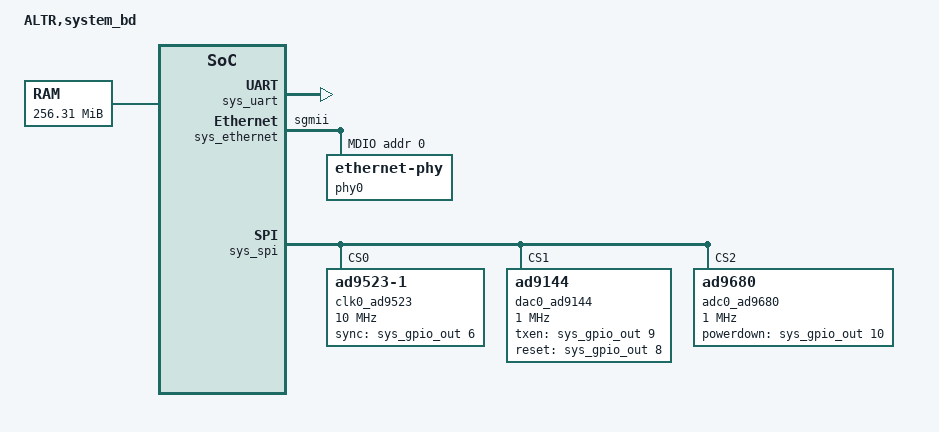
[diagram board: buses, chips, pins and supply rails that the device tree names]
// SPDX-License-Identifier: GPL-2.0
/*
 * Analog Devices AD-FMCDAQ2-EBZ
 * Link: https://wiki.analog.com/resources/eval/user-guides/ad-fmcdaq2-ebz
 *
 * hdl_project: <daq2/a10gx>
 * board_revision: <>
 *
 * Copyright 2016-2020 Analog Devices Inc.
 */
/dts-v1/;

/ {
	model = "ALTR,system_bd";
	compatible = "ALTR,system_bd";
	#address-cells = <1>;
	#size-cells = <1>;

	cpus {
		#address-cells = <1>;
		#size-cells = <0>;

		sys_cpu: cpu@0 {
			device_type = "cpu";
			compatible = "altr,nios2-1.1";
			reg = <0x00000000>;
			interrupt-controller;
			#interrupt-cells = <1>;
			altr,exception-addr = <3221225504>;
			altr,fast-tlb-miss-addr = <3491762176>;
			altr,has-initda = <1>;
			altr,has-mmu = <1>;
			altr,has-mul = <1>;
			altr,implementation = "fast";
			altr,pid-num-bits = <8>;
			altr,reset-addr = <3221225472>;
			altr,tlb-num-entries = <128>;
			altr,tlb-num-ways = <16>;
			altr,tlb-ptr-sz = <7>;
			clock-frequency = <100000000>;
			dcache-line-size = <32>;
			dcache-size = <32768>;
			icache-line-size = <32>;
			icache-size = <32768>;
		};
	};

	memory {
		device_type = "memory";
		reg = <0x00000000 0x10000000>,
			<0x10140000 0x00028000>,
			<0x10200000 0x00028000>;
	};

	clocks {
		sys_clk: sys_clk {
			#clock-cells = <0>;
			compatible = "fixed-clock";
			clock-frequency = <100000000>;
			clock-output-names = "system_clock";
		};

		dma_clk: dma_clk {
			#clock-cells = <0>;
			compatible = "fixed-clock";
			clock-frequency = <226652000>;
			clock-output-names = "dma_clock";
		};
	};

	sopc0: sopc {
		device_type = "soc";
		ranges;
		#address-cells = <1>;
		#size-cells = <1>;
		compatible = "ALTR,avalon", "simple-bus";
		bus-frequency = <100000000>;

		sys_uart: serial@101814f0 {
			compatible = "altr,juart-1.0";
			reg = <0x101814f0 0x00000008>;
			interrupt-parent = <&sys_cpu>;
			interrupts = <2>;
		};

		sys_ethernet: ethernet@10181000 {
			compatible = "altr,tse-msgdma-1.0", "altr,tse-1.0";
			reg = <0x10181000 0x00000400>,
				<0x101814a0 0x00000020>,
				<0x10181440 0x00000020>,
				<0x101814e0 0x00000008>,
				<0x10181480 0x00000020>,
				<0x10181460 0x00000020>;
			reg-names = "control_port", "rx_csr", "rx_desc", "rx_resp", "tx_csr", "tx_desc";
			interrupt-parent = <&sys_cpu>;
			interrupts = <0 1>;
			interrupt-names = "rx_irq", "tx_irq";
			ALTR,rx-fifo-depth = <4096>;
			ALTR,tx-fifo-depth = <4096>;
			rx-fifo-depth = <16384>;
			tx-fifo-depth = <16384>;
			address-bits = <48>;
			max-frame-size = <1518>;
			local-mac-address = [B2 94 3D 6E 11 8F];
			altr,enable-sup-addr = <0>;
			altr,enable-hash = <0>;
			phy-mode = "sgmii";

			sys_ethernet_mdio: mdio {
				compatible = "altr,tse-mdio";
				#address-cells = <1>;
				#size-cells = <0>;
				phy0: ethernet-phy@0 {
					reg = <0>;
					device_type = "ethernet-phy";
				};
			};
		};

		sys_id: sysid@101814e8 {
			compatible = "altr,sysid-1.0";
			reg = <0x101814e8 0x00000008>;
			id = <182193580>;
			timestamp = <1506373933>;
		};

		sys_timer_1: timer@10181420 {
			compatible = "altr,timer-1.0";
			reg = <0x10181420 0x00000020>;
			interrupt-parent = <&sys_cpu>;
			interrupts = <4>;
			clock-frequency = <100000000>;
		};

		sys_timer_2: timer@10181520 {
			compatible = "altr,timer-1.0";
			reg = <0x10181520 0x00000020>;
			interrupt-parent = <&sys_cpu>;
			interrupts = <3>;
			clock-frequency = <100000000>;
		};

		sys_gpio_bd: gpio@101814d0 {
			compatible = "altr,pio-1.0";
			reg = <0x101814d0 0x00000010>;
			interrupt-parent = <&sys_cpu>;
			interrupts = <6>;
			altr,gpio-bank-width = <32>;
			altr,interrupt-type = <4>;
			altr,interrupt_type = <4>;
			level_trigger = <1>;
			resetvalue = <0>;
			#gpio-cells = <2>;
			gpio-controller;
		};

		sys_gpio_in: gpio@101814c0 {
			compatible = "altr,pio-1.0";
			reg = <0x101814c0 0x00000010>;
			interrupt-parent = <&sys_cpu>;
			interrupts = <5>;
			altr,gpio-bank-width = <32>;
			altr,interrupt-type = <4>;
			altr,interrupt_type = <4>;
			level_trigger = <1>;
			resetvalue = <0>;
			#gpio-cells = <2>;
			gpio-controller;
		};

		sys_gpio_out: gpio@10181500 {
			compatible = "altr,pio-1.0";
			reg = <0x10181500 0x00000010>;
			altr,gpio-bank-width = <32>;
			resetvalue = <0>;
			#gpio-cells = <2>;
			gpio-controller;
		};

		sys_spi: spi@10181400 {
			compatible = "altr,spi-1.0";
			reg = <0x10181400 0x00000020>;
			interrupt-parent = <&sys_cpu>;
			interrupts = <7>;

			#address-cells = <1>;
			#size-cells = <0>;

			clk0_ad9523: ad9523-1@0 {
				#address-cells = <1>;
				#size-cells = <0>;
				#clock-cells = <1>;
				compatible = "ad9523-1";
				reg = <0>;

				sync-gpios = <&sys_gpio_out 6 0>;

				spi-max-frequency = <10000000>;
				clock-output-names = "ad9523-1_out0", "ad9523-1_out1", "ad9523-1_out2", "ad9523-1_out3", "ad9523-1_out4", "ad9523-1_out5", "ad9523-1_out6", "ad9523-1_out7", "ad9523-1_out8", "ad9523-1_out9", "ad9523-1_out10", "ad9523-1_out11", "ad9523-1_out12", "ad9523-1_out13";
				adi,vcxo-freq = <125000000>;
				adi,spi-3wire-enable;
				adi,pll1-bypass-enable;
				adi,osc-in-diff-enable;

				adi,pll2-charge-pump-current-nA = <413000>;
				adi,pll2-ndiv-a-cnt = <0>;
				adi,pll2-ndiv-b-cnt = <6>;

				adi,pll2-r2-div = <1>;
				adi,pll2-vco-diff-m1 = <3>;

				adi,rpole2 = <0>;
				adi,rzero = <7>;
				adi,cpole1 = <2>;

				ad9523_0_c1:channel@1 {
					reg = <1>;
					adi,extended-name = "ADC_CLK";
					adi,driver-mode = <3>;
					adi,divider-phase = <1>;
					adi,channel-divider = <1>;
				};
				ad9523_0_c4:channel@4 {
					reg = <4>;
					adi,extended-name = "ADC_CLK_FMC";
					adi,driver-mode = <3>;
					adi,divider-phase = <1>;
					adi,channel-divider = <2>;
				};

				ad9523_0_c5:channel@5 {
					reg = <5>;
					adi,extended-name = "ADC_SYSREF";
					adi,driver-mode = <3>;
					adi,divider-phase = <1>;
					adi,channel-divider = <128>;
				};

				ad9523_0_c6:channel@6 {
					reg = <6>;
					adi,extended-name = "CLKD_ADC_SYSREF";
					adi,driver-mode = <3>;
					adi,divider-phase = <1>;
					adi,channel-divider = <128>;
				};

				ad9523_0_c7:channel@7 {
					reg = <7>;
					adi,extended-name = "CLKD_DAC_SYSREF";
					adi,driver-mode = <3>;
					adi,divider-phase = <1>;
					adi,channel-divider = <128>;
				};

				ad9523_0_c8:channel@8 {
					reg = <8>;
					adi,extended-name = "DAC_SYSREF";
					adi,driver-mode = <3>;
					adi,divider-phase = <1>;
					adi,channel-divider = <128>;
				};

				ad9523_0_c9:channel@9 {
					reg = <9>;
					adi,extended-name = "FMC_DAC_REF_CLK";
					adi,driver-mode = <3>;
					adi,divider-phase = <1>;
					adi,channel-divider = <2>;
				};

				ad9523_0_c13:channel@13 {
					reg = <13>;
					adi,extended-name = "DAC_CLK";
					adi,driver-mode = <3>;
					adi,divider-phase = <1>;
					adi,channel-divider = <1>;
				};
			};

			dac0_ad9144: ad9144@1 {
				#address-cells = <1>;
				#size-cells = <0>;
				compatible = "ad9144";
				reg = <1>;
				spi-max-frequency = <1000000>;
				clocks = <&axi_ad9144_jesd>, <&clk0_ad9523 13>, <&clk0_ad9523 8>;
				clock-names = "jesd_dac_clk", "dac_clk", "dac_sysref";
				txen-gpios = <&sys_gpio_out 9 0>;
				reset-gpios = <&sys_gpio_out 8 0>;
			};

			adc0_ad9680: ad9680@2 {
				#address-cells = <1>;
				#size-cells = <0>;
				compatible = "ad9680";
				reg = <2>;
				spi-max-frequency = <1000000>;
				clocks = <&axi_ad9680_jesd>, <&clk0_ad9523 1>, <&clk0_ad9523 5>;
				clock-names = "jesd_adc_clk", "adc_clk", "adc_sysref";
				powerdown-gpios = <&sys_gpio_out 10 0>;
			};
		};

		rx_dma: rx-dmac@1004c000 {
			compatible = "adi,axi-dmac-1.00.a";
			reg = <0x1004c000 0x4000>;
			#dma-cells = <1>;
			interrupt-parent = <&sys_cpu>;
			interrupts = <10>;
			clocks = <&dma_clk>;

			dma-channel {
				adi,source-bus-width = <128>;
				adi,destination-bus-width = <128>;
				adi,type = <0>;
			};
		};

		tx_dma: tx-dmac@1002c000 {
			compatible = "adi,axi-dmac-1.00.a";
			reg = <0x1002c000 0x4000>;
			#dma-cells = <1>;
			interrupt-parent = <&sys_cpu>;
			interrupts = <11>;
			clocks = <&dma_clk>;

			dma-channel {
				adi,source-bus-width = <128>;
				adi,destination-bus-width = <128>;
				adi,type = <1>;
				adi,cyclic;
			};
		};

		axi_ad9144_core: axi-ad9144-hpc@10034000 {
			compatible = "adi,axi-ad9144-1.0";
			reg = <0x10034000 0x4000>;
			dmas = <&tx_dma 0>;
			dma-names = "tx";
			spibus-connected = <&dac0_ad9144>;
			adi,axi-pl-fifo-enable;
		};

		axi_ad9144_jesd: axi-jesd204-tx@10020000 {
			compatible = "adi,axi-jesd204-tx-1.0";
			reg = <0x10020000 0x4000>;

			interrupt-parent = <&sys_cpu>;
			interrupts = <9>;

			clocks = <&sys_clk>, <&tx_device_clk_pll>, <&axi_ad9144_xcvr>;
			clock-names = "s_axi_aclk", "device_clk", "lane_clk";

			adi,octets-per-frame = <1>;
			adi,frames-per-multiframe = <32>;
			adi,converter-resolution = <16>;
			adi,bits-per-sample = <16>;
			adi,converters-per-device = <2>;

			#clock-cells = <0>;
			clock-output-names = "jesd_dac_lane_clk";
		};

		axi_ad9680_core: axi-ad9680-hpc@10050000 {
			compatible = "adi,axi-ad9680-1.0";
			reg = <0x10050000 0x10000>;
			dmas = <&rx_dma 0>;
			dma-names = "rx";
			spibus-connected = <&adc0_ad9680>;
		};

		axi_ad9680_jesd: axi-jesd204-rx@10040000 {
			compatible = "adi,axi-jesd204-rx-1.0";
			reg = <0x10040000 0x4000>;

			interrupt-parent = <&sys_cpu>;
			interrupts = <8>;

			clocks = <&sys_clk>, <&rx_device_clk_pll>, <&axi_ad9680_xcvr>;
			clock-names = "s_axi_aclk", "device_clk", "lane_clk";

			adi,octets-per-frame = <1>;
			adi,frames-per-multiframe = <32>;

			#clock-cells = <0>;
			clock-output-names = "jesd_adc_lane_clk";
		};

		axi_ad9144_xcvr: axi-ad9144-xcvr@10024000 {
			compatible = "adi,altera-adxcvr-1.00.a";
			reg = <0x10024000 0x0001000>,
				<0x10026000 0x00001000>,
				<0x10028000 0x00001000>,
				<0x10029000 0x00001000>,
				<0x1002a000 0x00001000>,
				<0x1002b000 0x00001000>;
			reg-names = "adxcvr", "atx-pll", "adxcfg-0", "adxcfg-1", "adxcfg-2", "adxcfg-3";

			#clock-cells = <0>;
			clocks = <&clk0_ad9523 9>, <&tx_device_clk_pll>, <&clk0_ad9523 7>;
			clock-names = "ref", "link", "sysref";
			clock-output-names = "jesd204_tx_lane_clock";
		};

		axi_ad9680_xcvr: axi-ad9680-xcvr@10044000 {
			compatible = "adi,altera-adxcvr-1.00.a";
			reg = <0x10044000 0x00001000>,
				<0x10048000 0x00001000>,
				<0x10049000 0x00001000>,
				<0x1004a000 0x00001000>,
				<0x1004b000 0x00001000>;
			reg-names = "adxcvr", "adxcfg-0", "adxcfg-1", "adxcfg-2", "adxcfg-3";

			#clock-cells = <0>;
			clocks = <&clk0_ad9523 4>, <&rx_device_clk_pll>, <&clk0_ad9523 6>;
			clock-names = "ref", "link", "sysref";
			clock-output-names = "jesd204_rx_lane_clock";
		};

		tx_device_clk_pll: altera-a10-fpll@10025000 {
			compatible = "altr,a10-fpll";
			reg = <0x10025000 0x1000>;
			#clock-cells = <0>;
			clocks = <&clk0_ad9523 9>;
			clock-output-names = "jesd204_tx_link_clock";
		};

		rx_device_clk_pll: altera-a10-fpll@10045000 {
			compatible = "altr,a10-fpll";
			reg = <0x10045000 0x1000>;
			#clock-cells = <0>;
			clocks = <&clk0_ad9523 4>;
			clock-output-names = "jesd204_rx_link_clock";
		};
	};

	chosen {
		bootargs = "debug console=ttyJ0,115200";
	};
};
